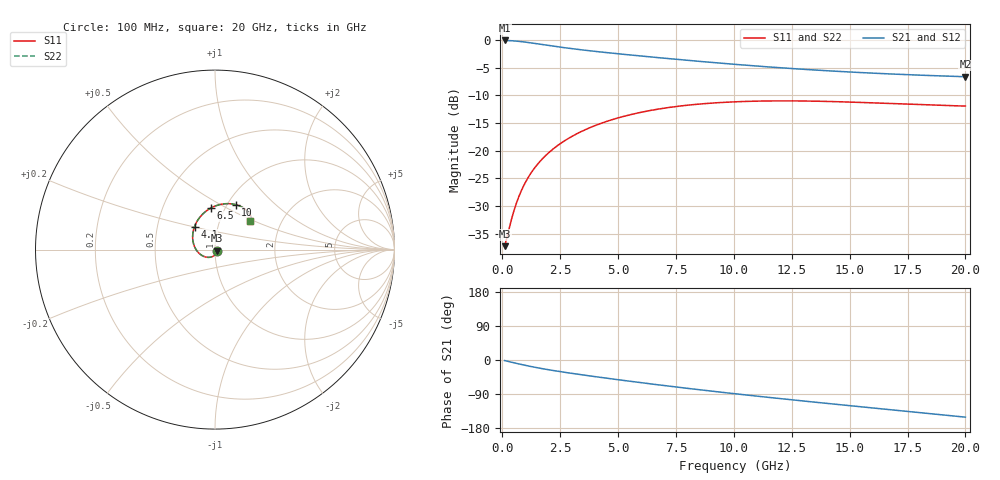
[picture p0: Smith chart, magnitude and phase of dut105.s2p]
! Created with skrf 1.9.0 (http://scikit-rf.org).
# GHz S RI R 50.0
!freq ReS11 ImS11 ReS21 ImS21 ReS12 ImS12 ReS22 ImS22
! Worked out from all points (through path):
!   200 points, 100 MHz to 20 GHz, reference 50 ohm
!   highest |S21| = -0.12 dB at 100 MHz (marker M1); lowest = -6.7 dB at 20 GHz (marker M2)
!   group delay of S21, straight-line fit = 19.7 ps
!   lowest |S11| = -37.2 dB at 100 MHz (marker M3), VSWR 1.03, Z = 51.2 - j0.62 ohm
!   |S11| at or under -10 dB: start of sweep to end of sweep
!   |S22| runs from -37.2 to -11.0 dB; largest |S21 - S12| = 1.9e-15
!   S11 on the Smith chart (normalised r, x): 100 MHz: 1.02, -0.01; 4.1 GHz: 0.77, +0.20; 6.5 GHz: 0.86, +0.42; 10 GHz: 1.09, +0.59; 20 GHz: 1.39, +0.47
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0.1  0.0123 -0.00605  0.9864 -0.0259  0.9864 -0.0259  0.0123 -0.00605
0.4  0.00516 -0.0236  0.9756 -0.1011  0.9756 -0.1011  0.00516 -0.0236
0.5  0.00097 -0.0285  0.9694 -0.1252  0.9694 -0.1252  0.00097 -0.0285
0.7  -0.00962 -0.0366  0.9539 -0.1711  0.9539 -0.1711  -0.00962 -0.0366
1  -0.0293 -0.0428  0.9241 -0.2336  0.9241 -0.2336  -0.0293 -0.0428
1.3  -0.0507 -0.0415  0.8892 -0.2878  0.8892 -0.2878  -0.0507 -0.0415
1.7  -0.0776 -0.0296  0.8393 -0.3483  0.8393 -0.3483  -0.0776 -0.0296
2.2  -0.1037 -0.00283  0.7762 -0.4083  0.7762 -0.4083  -0.1037 -0.00283
2.8  -0.121 0.0381  0.7033 -0.4645  0.7033 -0.4645  -0.121 0.0381
3.5  -0.1236 0.0881  0.6228 -0.5156  0.6228 -0.5156  -0.1236 0.0881
4.1  -0.1141 0.1277  0.5565 -0.5504  0.5565 -0.5504  -0.1141 0.1277
5.2  -0.079 0.1868  0.4397 -0.5966  0.4397 -0.5966  -0.079 0.1868
6.5  -0.0235 0.2314  0.309 -0.6257  0.309 -0.6257  -0.0235 0.2314
6.8  -0.0101 0.2381  0.2802 -0.6289  0.2802 -0.6289  -0.0101 0.2381
8.3  0.0542 0.2552  0.1453 -0.6283  0.1453 -0.6283  0.0542 0.2552
10  0.1144 0.2507  0.013 -0.6017  0.013 -0.6017  0.1144 0.2507
10.1  0.1174 0.2499  0.00594 -0.5995  0.00594 -0.5995  0.1174 0.2499
11.7  0.1575 0.2328  -0.0976 -0.557  -0.0976 -0.557  0.1575 0.2328
13.4  0.1845 0.2104  -0.1892 -0.501  -0.1892 -0.501  0.1845 0.2104
15  0.1977 0.1904  -0.2604 -0.4414  -0.2604 -0.4414  0.1977 0.1904
16.7  0.2022 0.1735  -0.3222 -0.3726  -0.3222 -0.3726  0.2022 0.1735
20  0.1958 0.1596  -0.4055 -0.2264  -0.4055 -0.2264  0.1958 0.1596
